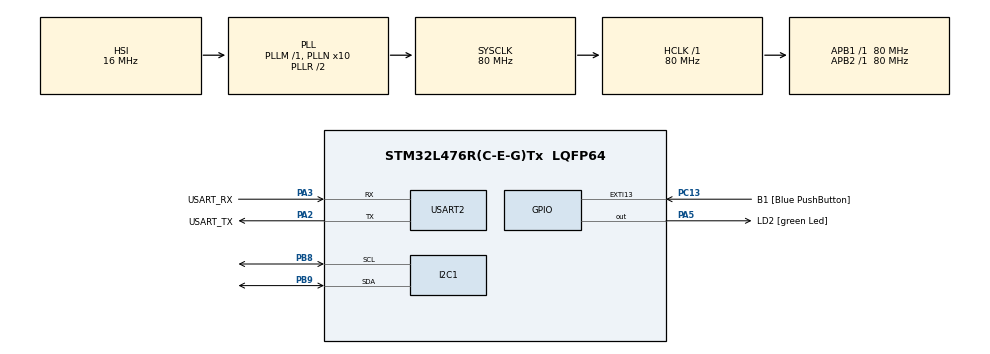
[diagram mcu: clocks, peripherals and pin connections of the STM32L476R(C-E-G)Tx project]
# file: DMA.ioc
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Dma.I2C1_RX.1.Direction=DMA_PERIPH_TO_MEMORY
Dma.I2C1_RX.1.Instance=DMA1_Channel7
Dma.I2C1_RX.1.MemDataAlignment=DMA_MDATAALIGN_BYTE
Dma.I2C1_RX.1.MemInc=DMA_MINC_ENABLE
Dma.I2C1_RX.1.Mode=DMA_NORMAL
Dma.I2C1_RX.1.PeriphDataAlignment=DMA_PDATAALIGN_BYTE
Dma.I2C1_RX.1.PeriphInc=DMA_PINC_DISABLE
Dma.I2C1_RX.1.Priority=DMA_PRIORITY_LOW
Dma.MEMTOMEM.0.Direction=DMA_MEMORY_TO_MEMORY
Dma.MEMTOMEM.0.Instance=DMA1_Channel1
Dma.MEMTOMEM.0.MemDataAlignment=DMA_MDATAALIGN_WORD
Dma.MEMTOMEM.0.MemInc=DMA_MINC_ENABLE
Dma.MEMTOMEM.0.Mode=DMA_NORMAL
Dma.MEMTOMEM.0.PeriphDataAlignment=DMA_PDATAALIGN_WORD
Dma.MEMTOMEM.0.PeriphInc=DMA_PINC_ENABLE
Dma.MEMTOMEM.0.Priority=DMA_PRIORITY_LOW
Dma.Request0=MEMTOMEM
Dma.Request1=I2C1_RX
I2C1.Timing=0x10909CEC
Mcu.Family=STM32L4
Mcu.Name=STM32L476R(C-E-G)Tx
Mcu.Package=LQFP64
NVIC.DMA1_Channel1_IRQn=true\:0\:0\:false\:false\:true\:true\:true\:true
NVIC.DMA1_Channel7_IRQn=true\:0\:0\:false\:false\:true\:false\:true\:true
NVIC.PriorityGroup=NVIC_PRIORITYGROUP_4
NVIC.TIM1_UP_TIM16_IRQn=true\:0\:0\:false\:false\:true\:true\:true\:true
PA13\ (JTMS-SWDIO).GPIO_Label=TMS
PA13\ (JTMS-SWDIO).Mode=Serial_Wire
PA13\ (JTMS-SWDIO).Signal=SYS_JTMS-SWDIO
PA14\ (JTCK-SWCLK).GPIO_Label=TCK
PA14\ (JTCK-SWCLK).Mode=Serial_Wire
PA14\ (JTCK-SWCLK).Signal=SYS_JTCK-SWCLK
PA2.GPIO_Label=USART_TX
PA2.GPIO_Mode=GPIO_MODE_AF_PP
PA2.GPIO_PuPd=GPIO_NOPULL
PA2.GPIO_Speed=GPIO_SPEED_FREQ_VERY_HIGH
PA2.Mode=Asynchronous
PA2.Signal=USART2_TX
PA3.GPIO_Label=USART_RX
PA3.GPIO_Mode=GPIO_MODE_AF_PP
PA3.GPIO_PuPd=GPIO_NOPULL
PA3.GPIO_Speed=GPIO_SPEED_FREQ_VERY_HIGH
PA3.Mode=Asynchronous
PA3.Signal=USART2_RX
PA5.GPIO_Label=LD2 [green Led]
PA5.GPIO_ModeDefaultOutputPP=GPIO_MODE_OUTPUT_PP
PA5.GPIO_PuPd=GPIO_NOPULL
PA5.GPIO_Speed=GPIO_SPEED_FREQ_LOW
PA5.Signal=GPIO_Output
PB3\ (JTDO-TRACESWO).GPIO_Label=SWO
PB3\ (JTDO-TRACESWO).Signal=SYS_JTDO-SWO
PB8.Mode=I2C
PB8.Signal=I2C1_SCL
PB9.Mode=I2C
PB9.Signal=I2C1_SDA
PC13.GPIO_Label=B1 [Blue PushButton]
PC13.GPIO_ModeDefaultEXTI=GPIO_MODE_IT_FALLING
PC13.GPIO_PuPd=GPIO_NOPULL
PC13.Signal=GPXTI13
PC14-OSC32_IN\ (PC14).Mode=LSE-External-Oscillator
PC14-OSC32_IN\ (PC14).Signal=RCC_OSC32_IN
PC15-OSC32_OUT\ (PC15).Mode=LSE-External-Oscillator
PC15-OSC32_OUT\ (PC15).Signal=RCC_OSC32_OUT
PH0-OSC_IN\ (PH0).Signal=RCC_OSC_IN
PH1-OSC_OUT\ (PH1).Signal=RCC_OSC_OUT
ProjectManager.HeapSize=0x200
ProjectManager.StackSize=0x400
ProjectManager.TargetToolchain=STM32CubeIDE
RCC.ADCFreq_Value=64000000
RCC.AHBFreq_Value=80000000
RCC.APB1Freq_Value=80000000
RCC.APB1TimFreq_Value=80000000
RCC.APB2Freq_Value=80000000
RCC.APB2TimFreq_Value=80000000
RCC.CortexFreq_Value=80000000
RCC.HCLKFreq_Value=80000000
RCC.HSE_VALUE=8000000
RCC.HSI_VALUE=16000000
RCC.MSI_VALUE=4000000
RCC.PLLN=10
RCC.PLLSourceVirtual=RCC_PLLSOURCE_HSI
RCC.PREFETCH_ENABLE=1
RCC.SYSCLKFreq_VALUE=80000000
RCC.SYSCLKSource=RCC_SYSCLKSOURCE_PLLCLK
RCC.USBFreq_Value=64000000
RCC.VCOOutputFreq_Value=160000000
TIM16.Period=65535
TIM16.Prescaler=79
USART2.VirtualMode-Asynchronous=VM_ASYNC
VP_TIM16_VS_ClockSourceINT.Mode=Enable_Timer
board=NUCLEO-L476RG

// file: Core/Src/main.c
/* USER CODE BEGIN Header */
/**
  ******************************************************************************
  * @file           : main.c
  * @brief          : Main program body
  ******************************************************************************
  * @attention
  *
  * Copyright (c) 2022 STMicroelectronics.
  * All rights reserved.
  *
  * This software is licensed under terms that can be found in the LICENSE file
  * in the root directory of this software component.
  * If no LICENSE file comes with this software, it is provided AS-IS.
  *
  ******************************************************************************
  */
/* USER CODE END Header */
#include "main.h"

/* USER CODE BEGIN Includes */
#include <stdio.h>
#include <string.h>
/* USER CODE END Includes */

 I2C_HandleTypeDef hi2c1;
DMA_HandleTypeDef hdma_i2c1_rx;

TIM_HandleTypeDef htim16;

UART_HandleTypeDef huart2;

DMA_HandleTypeDef hdma_memtomem_dma1_channel1;
/* USER CODE BEGIN PV */
int flag = 0;
/* USER CODE END PV */

void SystemClock_Config(void);
static void MX_GPIO_Init(void);
static void MX_DMA_Init(void);
static void MX_USART2_UART_Init(void);
static void MX_TIM16_Init(void);
static void MX_I2C1_Init(void);

/* USER CODE BEGIN 0 */
int _write(int fd, char* ptr, int len)
{
	HAL_UART_Transmit(&huart2, (uint8_t*)ptr, len, HAL_MAX_DELAY);
	return len;
}

void MyDMAInterruptHandler()
{
	HAL_TIM_Base_Stop(&htim16);
	flag=1;
}

void MyDMAchanel7InterruptHandler()
{
	HAL_TIM_Base_Stop(&htim16);
	flag=1;
}

const uint8_t flashData[100] __attribute__((aligned(4))) ={
		1 ,2 ,3 ,4 ,5 ,6 ,7 ,8 ,9 ,10,
		11,12,13,14,15,16,17,18,19,20,
		21,22,23,24,25,26,27,28,29,30,
		31,32,33,34,35,36,37,38,39,40,
		41,42,43,44,45,56,47,48,49,50,
		51,52,53,54,55,56,57,58,59,60,
		61,62,63,64,65,66,67,68,69,70,
		71,72,73,74,75,76,77,78,79,80,
		81,82,83,84,85,86,87,88,89,90,
		91,92,93,94,95,96,97,98,99,100
};

uint8_t ramData[100] __attribute__((aligned(4)));

/* USER CODE END 0 */

int main(void)
{

  /* MCU Configuration--------------------------------------------------------*/

  /* Reset of all peripherals, Initializes the Flash interface and the Systick. */
  HAL_Init();

  /* Configure the system clock */
  SystemClock_Config();

  /* Initialize all configured peripherals */
  MX_GPIO_Init();
  MX_DMA_Init();
  MX_USART2_UART_Init();
  MX_TIM16_Init();
  MX_I2C1_Init();
  /* USER CODE BEGIN 2 */

  printf("\r\n");
  printf("--------------access timer--------------------\r\n");
  printf("\r\n");
  int time;

  ////////////////flash to ram/////////////////////////////
  __HAL_TIM_SET_COUNTER(&htim16 , 0);
  HAL_TIM_Base_Start(&htim16);
  memcpy(ramData, flashData ,sizeof(flashData));
  HAL_TIM_Base_Stop(&htim16);
  time=__HAL_TIM_GET_COUNTER(&htim16);
  printf("flash to ram =%d \r\n", time);
  printf("----------------------------------------------\r\n");

  ////////////////DMA/////////////////////////////
  int counter = 0;
  memset(ramData,0,sizeof(ramData));
  __HAL_TIM_SET_COUNTER(&htim16 , 0);
  HAL_TIM_Base_Start(&htim16);
  HAL_DMA_Start_IT(&hdma_memtomem_dma1_channel1,(uint32_t)flashData,(uint32_t)ramData,sizeof(flashData)/4);
  while(flag == 0){
	  counter++;
  }
  time=__HAL_TIM_GET_COUNTER(&htim16);
  printf("DMA flash to ram time=%d  counter= %d \r\n" ,time, counter);
  printf("----------------------------------------------\r\n");

  ////////////////R2C to ram/////////////////////////
   memset(ramData,0,sizeof(ramData));
   __HAL_TIM_SET_COUNTER(&htim16 , 0);
   HAL_TIM_Base_Start(&htim16);
   int status = HAL_I2C_Mem_Read(&hi2c1, 0xD0, 0, 1, ramData, 64, 0xff);
   HAL_TIM_Base_Stop(&htim16);
   time=__HAL_TIM_GET_COUNTER(&htim16);
   printf("i2c to ram =%d status=%d\r\n", time, status);
   printf("----------------------------------------------\r\n");

  //////////////////DMA////////////////////////////
  counter = 0;
  flag = 0;
  memset(ramData,0,sizeof(ramData));
  __HAL_TIM_SET_COUNTER(&htim16 , 0);
  HAL_TIM_Base_Start(&htim16);
  HAL_I2C_Mem_Read_DMA(&hi2c1, 0xD0, 0, 1, ramData, 64);

  while(flag == 0){
	  counter++;
  }
  time=__HAL_TIM_GET_COUNTER(&htim16);
  printf("DMA i2c to ram time=%d counter= %d \r\n" ,time, counter);
  printf("----------------------------------------------\r\n");

  /* USER CODE END 2 */

  /* Infinite loop */
  while (1)
  {

  }
}

void SystemClock_Config(void)
{
  RCC_OscInitTypeDef RCC_OscInitStruct = {0};
  RCC_ClkInitTypeDef RCC_ClkInitStruct = {0};

  /** Configure the main internal regulator output voltage
  */
  if (HAL_PWREx_ControlVoltageScaling(PWR_REGULATOR_VOLTAGE_SCALE1) != HAL_OK)
  {
    Error_Handler();
  }

  /** Initializes the RCC Oscillators according to the specified parameters
  * in the RCC_OscInitTypeDef structure.
  */
  RCC_OscInitStruct.OscillatorType = RCC_OSCILLATORTYPE_HSI;
  RCC_OscInitStruct.HSIState = RCC_HSI_ON;
  RCC_OscInitStruct.HSICalibrationValue = RCC_HSICALIBRATION_DEFAULT;
  RCC_OscInitStruct.PLL.PLLState = RCC_PLL_ON;
  RCC_OscInitStruct.PLL.PLLSource = RCC_PLLSOURCE_HSI;
  RCC_OscInitStruct.PLL.PLLM = 1;
  RCC_OscInitStruct.PLL.PLLN = 10;
  RCC_OscInitStruct.PLL.PLLP = RCC_PLLP_DIV7;
  RCC_OscInitStruct.PLL.PLLQ = RCC_PLLQ_DIV2;
  RCC_OscInitStruct.PLL.PLLR = RCC_PLLR_DIV2;
  if (HAL_RCC_OscConfig(&RCC_OscInitStruct) != HAL_OK)
  {
    Error_Handler();
  }

  /** Initializes the CPU, AHB and APB buses clocks
  */
  RCC_ClkInitStruct.ClockType = RCC_CLOCKTYPE_HCLK|RCC_CLOCKTYPE_SYSCLK
                              |RCC_CLOCKTYPE_PCLK1|RCC_CLOCKTYPE_PCLK2;
  RCC_ClkInitStruct.SYSCLKSource = RCC_SYSCLKSOURCE_PLLCLK;
  RCC_ClkInitStruct.AHBCLKDivider = RCC_SYSCLK_DIV1;
  RCC_ClkInitStruct.APB1CLKDivider = RCC_HCLK_DIV1;
  RCC_ClkInitStruct.APB2CLKDivider = RCC_HCLK_DIV1;

  if (HAL_RCC_ClockConfig(&RCC_ClkInitStruct, FLASH_LATENCY_4) != HAL_OK)
  {
    Error_Handler();
  }
}

static void MX_I2C1_Init(void)
{

  hi2c1.Instance = I2C1;
  hi2c1.Init.Timing = 0x10909CEC;
  hi2c1.Init.OwnAddress1 = 0;
  hi2c1.Init.AddressingMode = I2C_ADDRESSINGMODE_7BIT;
  hi2c1.Init.DualAddressMode = I2C_DUALADDRESS_DISABLE;
  hi2c1.Init.OwnAddress2 = 0;
  hi2c1.Init.OwnAddress2Masks = I2C_OA2_NOMASK;
  hi2c1.Init.GeneralCallMode = I2C_GENERALCALL_DISABLE;
  hi2c1.Init.NoStretchMode = I2C_NOSTRETCH_DISABLE;
  if (HAL_I2C_Init(&hi2c1) != HAL_OK)
  {
    Error_Handler();
  }

  /** Configure Analogue filter
  */
  if (HAL_I2CEx_ConfigAnalogFilter(&hi2c1, I2C_ANALOGFILTER_ENABLE) != HAL_OK)
  {
    Error_Handler();
  }

  /** Configure Digital filter
  */
  if (HAL_I2CEx_ConfigDigitalFilter(&hi2c1, 0) != HAL_OK)
  {
    Error_Handler();
  }

}

static void MX_TIM16_Init(void)
{

  htim16.Instance = TIM16;
  htim16.Init.Prescaler = 79;
  htim16.Init.CounterMode = TIM_COUNTERMODE_UP;
  htim16.Init.Period = 65535;
  htim16.Init.ClockDivision = TIM_CLOCKDIVISION_DIV1;
  htim16.Init.RepetitionCounter = 0;
  htim16.Init.AutoReloadPreload = TIM_AUTORELOAD_PRELOAD_DISABLE;
  if (HAL_TIM_Base_Init(&htim16) != HAL_OK)
  {
    Error_Handler();
  }

}

static void MX_USART2_UART_Init(void)
{

  huart2.Instance = USART2;
  huart2.Init.BaudRate = 115200;
  huart2.Init.WordLength = UART_WORDLENGTH_8B;
  huart2.Init.StopBits = UART_STOPBITS_1;
  huart2.Init.Parity = UART_PARITY_NONE;
  huart2.Init.Mode = UART_MODE_TX_RX;
  huart2.Init.HwFlowCtl = UART_HWCONTROL_NONE;
  huart2.Init.OverSampling = UART_OVERSAMPLING_16;
  huart2.Init.OneBitSampling = UART_ONE_BIT_SAMPLE_DISABLE;
  huart2.AdvancedInit.AdvFeatureInit = UART_ADVFEATURE_NO_INIT;
  if (HAL_UART_Init(&huart2) != HAL_OK)
  {
    Error_Handler();
  }

}

static void MX_DMA_Init(void)
{

  /* DMA controller clock enable */
  __HAL_RCC_DMA1_CLK_ENABLE();

  /* Configure DMA request hdma_memtomem_dma1_channel1 on DMA1_Channel1 */
  hdma_memtomem_dma1_channel1.Instance = DMA1_Channel1;
  hdma_memtomem_dma1_channel1.Init.Request = DMA_REQUEST_0;
  hdma_memtomem_dma1_channel1.Init.Direction = DMA_MEMORY_TO_MEMORY;
  hdma_memtomem_dma1_channel1.Init.PeriphInc = DMA_PINC_ENABLE;
  hdma_memtomem_dma1_channel1.Init.MemInc = DMA_MINC_ENABLE;
  hdma_memtomem_dma1_channel1.Init.PeriphDataAlignment = DMA_PDATAALIGN_WORD;
  hdma_memtomem_dma1_channel1.Init.MemDataAlignment = DMA_MDATAALIGN_WORD;
  hdma_memtomem_dma1_channel1.Init.Mode = DMA_NORMAL;
  hdma_memtomem_dma1_channel1.Init.Priority = DMA_PRIORITY_LOW;
  if (HAL_DMA_Init(&hdma_memtomem_dma1_channel1) != HAL_OK)
  {
    Error_Handler( );
  }

  /* DMA interrupt init */
  /* DMA1_Channel1_IRQn interrupt configuration */
  HAL_NVIC_SetPriority(DMA1_Channel1_IRQn, 0, 0);
  HAL_NVIC_EnableIRQ(DMA1_Channel1_IRQn);
  /* DMA1_Channel7_IRQn interrupt configuration */
  HAL_NVIC_SetPriority(DMA1_Channel7_IRQn, 0, 0);
  HAL_NVIC_EnableIRQ(DMA1_Channel7_IRQn);

}

static void MX_GPIO_Init(void)
{
  GPIO_InitTypeDef GPIO_InitStruct = {0};

  /* GPIO Ports Clock Enable */
  __HAL_RCC_GPIOC_CLK_ENABLE();
  __HAL_RCC_GPIOH_CLK_ENABLE();
  __HAL_RCC_GPIOA_CLK_ENABLE();
  __HAL_RCC_GPIOB_CLK_ENABLE();

  /*Configure GPIO pin Output Level */
  HAL_GPIO_WritePin(LD2_GPIO_Port, LD2_Pin, GPIO_PIN_RESET);

  /*Configure GPIO pin : B1_Pin */
  GPIO_InitStruct.Pin = B1_Pin;
  GPIO_InitStruct.Mode = GPIO_MODE_IT_FALLING;
  GPIO_InitStruct.Pull = GPIO_NOPULL;
  HAL_GPIO_Init(B1_GPIO_Port, &GPIO_InitStruct);

  /*Configure GPIO pin : LD2_Pin */
  GPIO_InitStruct.Pin = LD2_Pin;
  GPIO_InitStruct.Mode = GPIO_MODE_OUTPUT_PP;
  GPIO_InitStruct.Pull = GPIO_NOPULL;
  GPIO_InitStruct.Speed = GPIO_SPEED_FREQ_LOW;
  HAL_GPIO_Init(LD2_GPIO_Port, &GPIO_InitStruct);

}

void Error_Handler(void)
{
  __disable_irq();
  while (1)
  {
  }
}
